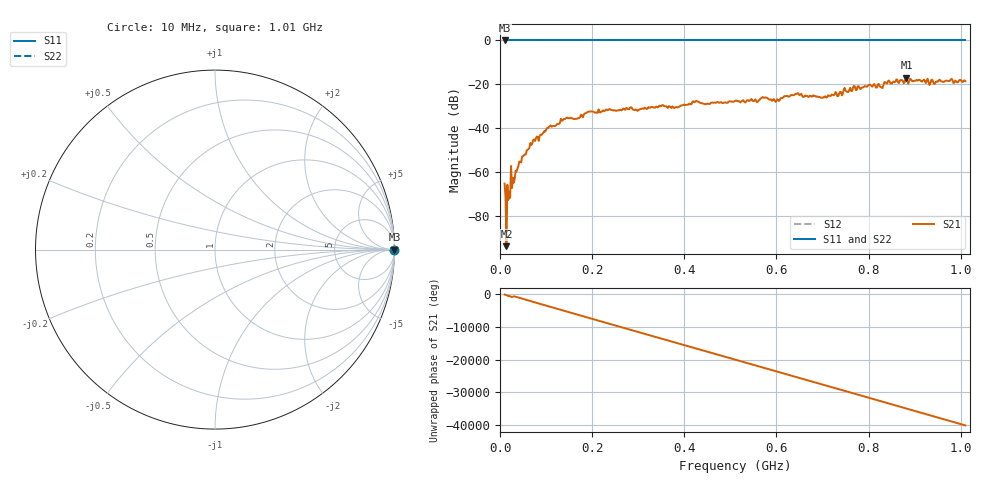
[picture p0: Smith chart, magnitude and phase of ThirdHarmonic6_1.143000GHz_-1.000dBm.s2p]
! 8/16/2025 11:15:45 AM
! C:\ANRITSUVNA\TEMP\TEMP.S2P
! CHANNEL.1
! TR.MEASUREMENT
! RAW.DATA
! RF.CORRECTION.OFF
! AVERAGING.OFF
! IF.BANDWIDTH: 5KHZ
! SWEEPTYPE:  FREQ.SWEEP(Linear)
! Reference Plane Port Info
! PORT:  PORT1  PORT2
! DISTANCE:  0  m  0  m
! TIME:  0  s  0  s
! PHASE.OFFSET:  0  deg.  0  deg.
! LOSS:  0  dB  0  dB
! REF.LOSS:  0  dB  0  dB
! REF.FREQ:  0  Hz  0  Hz
! Power Info
! POWER:  -20  dBm  -20  dBm
! EFF.POWER:  -20  dBm  -20  dBm
! SOURCE.ATTEN:  0  dB  0  dB
! TEST.ATTEN:  0  dB  0  dB
# GHZ S RI R 50.0
! FREQ.GHZ  S11RE  S11IM  S21RE  S21IM  S12RE  S12IM  S22RE  S22IM
!; PortSelection: Port_12
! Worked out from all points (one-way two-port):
!   501 points, 10 MHz to 1.01 GHz, reference 50 ohm
!   highest |S21| = -16.96 dB at 882 MHz (marker M1); lowest = -93.9 dB at 14 MHz (marker M2)
!   lowest |S11| = 0.0 dB at 10 MHz (marker M3)
!   |S11| at or under -10 dB: nowhere
!   |S22| runs from 0.0 to 0.0 dB; largest |S21 - S12| = 1.1
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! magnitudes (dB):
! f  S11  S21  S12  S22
! 10 MHz  0.0  -65.3  0.0  0.0
! 14 MHz  0.0  -93.9  0.0  0.0
! 18 MHz  0.0  -72.8  0.0  0.0
! 20 MHz  0.0  -69.1  0.0  0.0
! 22 MHz  0.0  -71.8  0.0  0.0
! 46 MHz  0.0  -55.7  0.0  0.0
! 76 MHz  0.0  -45.9  0.0  0.0
! 136 MHz  0.0  -36.5  0.0  0.0
! 178 MHz  0.0  -34.3  0.0  0.0
! 196 MHz  0.0  -32.5  0.0  0.0
! 344 MHz  0.0  -30.3  0.0  0.0
! 510 MHz  0.0  -27.7  0.0  0.0
! 574 MHz  0.0  -26.1  0.0  0.0
! 602 MHz  0.0  -26.9  0.0  0.0
! 644 MHz  0.0  -24.4  0.0  0.0
! 678 MHz  0.0  -25.5  0.0  0.0
! 706 MHz  0.0  -25.6  0.0  0.0
! 772 MHz  0.0  -22.5  0.0  0.0
! 828 MHz  0.0  -21.4  0.0  0.0
! 844 MHz  0.0  -18.3  0.0  0.0
! 882 MHz  0.0  -17.0  0.0  0.0
! 1.01 GHz  0.0  -18.6  0.0  0.0
